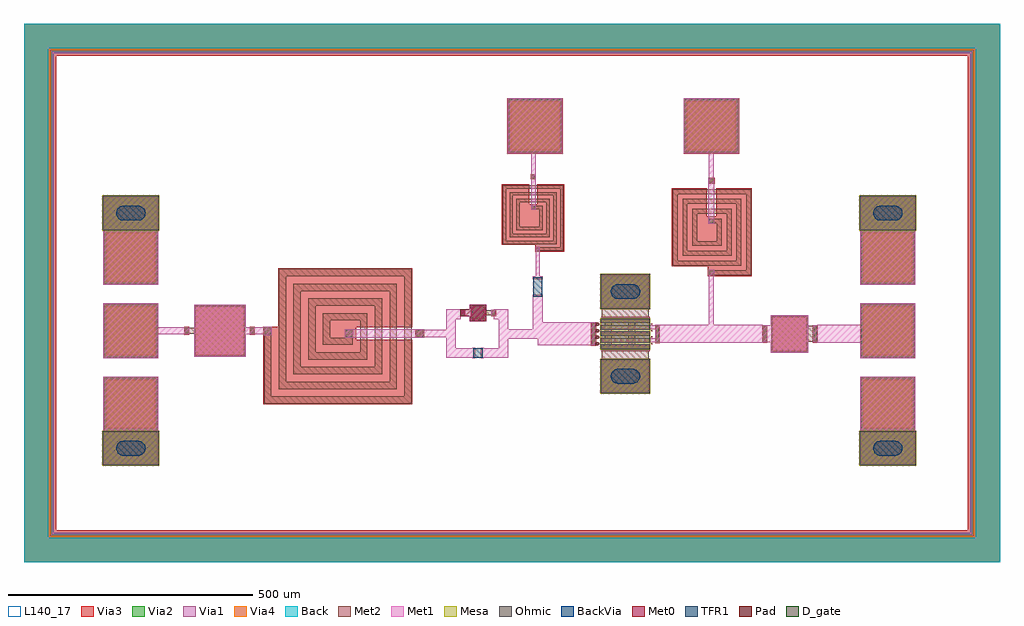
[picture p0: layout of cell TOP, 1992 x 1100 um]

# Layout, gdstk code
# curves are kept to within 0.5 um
from math import pi, radians
import gdstk
lib = gdstk.Library(unit=1e-6, precision=5e-08)
def R(c, l, rs):  # rectangles x0, y0, x1, y1
    for r in rs: c.add(gdstk.rectangle(r[:2], r[2:], *l))
def A(c, l, x, y, w, h, nx, ny, dx, dy):  # array of equal rectangles
    R(c, l, [(x+i*dx, y+j*dy, x+i*dx+w, y+j*dy+h) for i in range(nx) for j in range(ny)])
def P(c, l, *ps):  # polygons
    for p in ps: c.add(gdstk.Polygon(p, *l))
Ohmic = (20, 1)
Mesa = (40, 2)
Pad = (50, 3)
D_gate = (51, 4)
Via1 = (70, 6)
Via2 = (71, 11)
Via3 = (72, 12)
Via4 = (73, 14)
TFR1 = (80, 7)
Met0 = (90, 5)
Met1 = (91, 10)
Met2 = (92, 13)
BackVia = (120, 15)
Back = (130, 16)
L140_17 = (140, 17)

tfr1 = lib.new_cell('TFR1')
R(tfr1, TFR1, [(2,1,22,21)])
R(tfr1, Met1, [(0,0,6,22), (18,0,24,22)])

tfr1_3 = lib.new_cell('TFR1$3')
R(tfr1_3, TFR1, [(2,1,42,19)])
R(tfr1_3, Met1, [(0,0,6,20), (38,0,44,20)])

c_vt = lib.new_cell('VT')
A(c_vt, Ohmic, 20.5, 3.6, 100, 10, 1, 5, 0, 13.2)
R(c_vt, Mesa, [(19.5,2.6,121.5,67.4)])
P(c_vt, Pad, [(9.5,12.2),(9.5,18.2),(15.5,18.2),(17.5,16.2),(17.5,14.2),(15.5,12.2)],
  [(9.5,25.4),(9.5,31.4),(15.5,31.4),(17.5,29.4),(17.5,27.4),(15.5,25.4)],
  [(9.5,38.6),(9.5,44.6),(15.5,44.6),(17.5,42.6),(17.5,40.6),(15.5,38.6)],
  [(9.5,51.8),(9.5,57.8),(15.5,57.8),(17.5,55.8),(17.5,53.8),(15.5,51.8)],
  [(124,13.75),(123,14.75),(123,15.75),(125.5,15.75),(125.5,13.85)],
  [(123,27.85),(123,28.85),(124,29.85),(125.5,29.85),(125.5,27.85)],
  [(124,40.15),(123,41.15),(123,42.15),(125.5,42.15),(125.5,40.15)],
  [(123,54.25),(123,55.25),(124,56.25),(125.5,56.25),(125.5,54.25)])
A(c_vt, D_gate, 15.5, 15.1, 109.5, 0.2, 1, 4, 0, 13.2)
A(c_vt, Via1, 22, 5.1, 97, 7, 1, 5, 0, 13.2)
A(c_vt, Via1, 10.5, 13.2, 4, 4, 1, 4, 0, 13.2)
R(c_vt, Via2, [(23.5,2.5,117.5,10.6), (2.5,13.5,8,56.5), (133.5,18.5,138.5,51.5), (23.5,33,117.5,37), (23.5,59.4,117.5,67.5)])
R(c_vt, Via3, [(21,0,120,13.1), (0,11,10.5,59), (131,16,141,54), (21,30.5,120,39.5), (21,56.9,120,70)])
A(c_vt, Met1, 10, 12.7, 5, 5, 1, 4, 0, 13.2)
R(c_vt, Met1, [(21.5,0.5,119.5,12.6), (0.5,11.5,10,58.5), (131.5,16.5,140.5,53.5), (21.5,17.8,131.5,25.8), (21.5,31,119.5,39), (21.5,44.2,131.5,52.2), (21.5,57.4,119.5,69.5)])
R(c_vt, Met2, [(22.5,1.5,118.5,11.6), (28.5,11.6,42.5,32), (76.5,11.6,90.5,32), (1.5,12.5,9,57.5), (132.5,17.5,139.5,52.5), (22.5,32,118.5,38), (28.5,38,42.5,58.4), (76.5,38,90.5,58.4), (22.5,58.4,118.5,68.5)])

pad_1 = lib.new_cell('PAD$1')
R(pad_1, Via2, [(-54,-54,54,54)])
R(pad_1, Via3, [(-56.5,-56.5,56.5,56.5)])
R(pad_1, Via4, [(-50,-50,50,50)])
R(pad_1, Met1, [(-56,-56,56,56)])
R(pad_1, Met2, [(-55,-55,55,55)])

rost_em_rectangular_6 = lib.new_cell('Rost_EM_Rectangular$6')
R(rost_em_rectangular_6, Via2, [(102,-9.5,110,-1.5), (184,-9.5,192,-1.5), (184,-9.5,192,-1.5), (-4,-9,4,-1)])
R(rost_em_rectangular_6, Via3, [(181.5,-12,194.5,1), (181.5,-12,194.5,1)])
P(rost_em_rectangular_6, Via3, [(-6.5,-88),(-6.5,1.5),(13.5,1.5),(13.5,75),(172.5,75),(172.5,4.5),(115.5,4.5),(115.5,-15.5),(172.5,-15.5),(172.5,-88)])
R(rost_em_rectangular_6, Met1, [(100,-11.5,194,0.5), (100,-11.5,194,0.5), (-6,-11,6,1)])
R(rost_em_rectangular_6, Met2, [(183,-10.5,193,-0.5), (183,-10.5,193,-0.5)])
rost_em_rectangular_6.add(gdstk.FlexPath([(0,0),(0,-81.5),(166,-81.5),(166,68.5),(20,68.5),(20,-61.5),(146,-61.5),(146,48.5),(40,48.5),(40,-41.5),(126,-41.5),(126,28.5),(60,28.5),(60,-21.5),(106,-21.5),(106,-0.5)], 10, ends="flush", simple_path=True, layer=92, datatype=13))  # Met2

mimcap1_3 = lib.new_cell('MIMCAP1$3')
R(mimcap1_3, Via2, [(2,47.5,7,58.5), (135,47.5,140,58.5)])
R(mimcap1_3, Via3, [(20,3,120,103), (-0.5,45,9.5,61), (132.5,45,142.5,61)])
R(mimcap1_3, Met1, [(17,0,123,106), (0,45.5,17,60.5), (133,45.5,142,60.5), (0,50.5,2,55.5), (140,50.5,142,55.5)])
R(mimcap1_3, Met2, [(18,1,122,105), (1,46.5,8,59.5), (122,46.5,141,59.5)])

border = lib.new_cell('Border')
R(border, L140_17, [(0,0,1992,1100)])
border.add(gdstk.FlexPath([(29,0),(29,1071),(1963,1071),(1963,29),(58,29)], 58, ends="flush", simple_path=True, layer=71, datatype=11))  # Via2
border.add(gdstk.FlexPath([(33,0),(33,1067),(1959,1067),(1959,33),(66,33)], 66, ends="flush", simple_path=True, layer=72, datatype=12))  # Via3
border.add(gdstk.FlexPath([(27.5,0),(27.5,1072.5),(1964.5,1072.5),(1964.5,27.5),(55,27.5)], 55, ends="flush", simple_path=True, layer=73, datatype=14))  # Via4
border.add(gdstk.FlexPath([(30.5,0),(30.5,1069.5),(1961.5,1069.5),(1961.5,30.5),(61,30.5)], 61, ends="flush", simple_path=True, layer=70, datatype=6))  # Via1
border.add(gdstk.FlexPath([(25,0),(25,1075),(1967,1075),(1967,25),(50,25)], 50, ends="flush", simple_path=True, layer=130, datatype=16))  # Back

backvia = lib.new_cell('BACKVIA')
R(backvia, Ohmic, [(-50,-35,50,35)])
R(backvia, Mesa, [(-51,-36,51,36)])
R(backvia, Via1, [(-48.5,-33.5,48.5,33.5)])
R(backvia, Via2, [(-47,-32,47,32)])
R(backvia, Via3, [(-49.5,-34.5,49.5,34.5)])
R(backvia, Met1, [(-49,-34,49,34)])
R(backvia, Met2, [(-48,-33,48,33)])
P(backvia, BackVia, [(-16.5,-15),(-22.1,-13.3),(-24.55,-11.65),(-28.3,-7.1),(-30,-1.5),(-30,1.5),(-28.3,7.1),(-26.65,9.55),(-22.1,13.3),(-16.5,15),(16.5,15),(22.1,13.3),(24.55,11.65),(28.3,7.1),(30,1.5),(29.4,-4.4),(26.65,-9.55),(22.1,-13.3),(16.5,-15)])

mimcap2 = lib.new_cell('MIMCAP2')
R(mimcap2, Via1, [(1.5,11.5,9.5,22.5)])
R(mimcap2, Via2, [(24.5,5.5,47.5,28.5), (3,13,8,21), (65.5,13,70.5,21)])
R(mimcap2, Via3, [(23.5,4.5,48.5,29.5), (0.5,10.5,10.5,23.5), (63,10.5,73,23.5)])
R(mimcap2, Met0, [(19,0,53,34), (0,10,19,24)])
R(mimcap2, Met1, [(21,2,51,32), (1,11,10,23), (63.5,11,72.5,23), (1,16,3,18), (70.5,16,72.5,18)])
R(mimcap2, Met2, [(22.5,3.5,49.5,30.5), (2,12,9,22), (49.5,12,71.5,22)])

mimcap1_1 = lib.new_cell('MIMCAP1$1')
R(mimcap1_1, Via2, [(2,22.5,7,53.5), (105,22.5,110,53.5)])
R(mimcap1_1, Via3, [(20,3,90,73), (-0.5,20,9.5,56), (102.5,20,112.5,56)])
R(mimcap1_1, Met1, [(17,0,93,76), (0,20.5,17,55.5), (103,20.5,112,55.5), (0,25.5,2,50.5), (110,25.5,112,50.5)])
R(mimcap1_1, Met2, [(18,1,92,75), (1,21.5,8,54.5), (92,21.5,111,54.5)])

rost_em_rectangular_4 = lib.new_cell('Rost_EM_Rectangular$4')
R(rost_em_rectangular_4, Via2, [(159.5,-19,172.5,-6), (304,-19,317,-6), (304,-19,317,-6), (-6.5,-14,6.5,-1)])
R(rost_em_rectangular_4, Via3, [(301.5,-21.5,319.5,-3.5), (301.5,-21.5,319.5,-3.5)])
P(rost_em_rectangular_4, Via3, [(-9,-157.5),(-9,1.5),(21,1.5),(21,120.5),(295,120.5),(295,0),(180.5,0),(180.5,-25),(295,-25),(295,-157.5)])
R(rost_em_rectangular_4, Met1, [(157.5,-21,319,-4), (157.5,-21,319,-4), (-8.5,-16,8.5,1)])
R(rost_em_rectangular_4, Met2, [(303,-20,318,-5), (303,-20,318,-5)])
rost_em_rectangular_4.add(gdstk.FlexPath([(0,0),(0,-148.5),(286,-148.5),(286,111.5),(30,111.5),(30,-118.5),(256,-118.5),(256,81.5),(60,81.5),(60,-88.5),(226,-88.5),(226,51.5),(90,51.5),(90,-58.5),(196,-58.5),(196,21.5),(120,21.5),(120,-28.5),(166,-28.5),(166,-5)], 15, ends="flush", simple_path=True, layer=92, datatype=13))  # Met2

rost_em_rectangular = lib.new_cell('Rost_EM_Rectangular')
R(rost_em_rectangular, Via2, [(-2.5,-6,2.5,-1), (82.5,3,87.5,8), (145,3,150,8), (145,3,150,8)])
R(rost_em_rectangular, Via3, [(142.5,0.5,152.5,10.5), (142.5,0.5,152.5,10.5)])
P(rost_em_rectangular, Via3, [(-5,-57.5),(-5,1.5),(9,1.5),(9,69.5),(132,69.5),(132,14),(91.5,14),(91.5,-3),(132,-3),(132,-57.5)])
R(rost_em_rectangular, Met1, [(-4.5,-8,4.5,1), (80.5,1,152,10), (80.5,1,152,10)])
R(rost_em_rectangular, Met2, [(144,2,151,9), (144,2,151,9)])
rost_em_rectangular.add(gdstk.FlexPath([(0,0),(0,-52.5),(127,-52.5),(127,64.5),(14,64.5),(14,-38.5),(113,-38.5),(113,50.5),(28,50.5),(28,-24.5),(99,-24.5),(99,36.5),(42,36.5),(42,-10.5),(85,-10.5),(85,9)], 7, ends="flush", simple_path=True, layer=92, datatype=13))  # Met2

top = lib.new_cell('TOP')
R(top, Ohmic, [(-572,-165,-458,-95), (973,-165,1087,-95), (-572,315,-458,385), (973,315,1087,385)])
R(top, Mesa, [(-573,-166,-457,-94), (972,-166,1088,-94), (-573,314,-457,386), (972,314,1088,386)])
R(top, Via1, [(-570.5,-163.5,-459.5,-96.5), (974.5,-163.5,1085.5,-96.5), (-570.5,316.5,-459.5,383.5), (974.5,316.5,1085.5,383.5)])
R(top, Via2, [(-569,-162,-461,14), (976,-162,1084,14), (-569,206,-461,382), (976,206,1084,382)])
R(top, Via3, [(-571.5,-164.5,-458.5,16.5), (973.5,-164.5,1086.5,16.5), (-571.5,203.5,-458.5,384.5), (973.5,203.5,1086.5,384.5)])
R(top, Via4, [(-565,-89.5,-465,10), (980,-89.5,1080,10), (-565,210,-465,309.5), (980,210,1080,309.5)])
R(top, Met1, [(-571,-164,-459,16), (974,-164,1086,16), (128.5,54.5,148.5,74.5), (148.5,54.5,181.5,74.5), (205.5,54.5,235.5,74.5), (235.5,54.5,255.5,74.5), (128.5,74.5,148.5,96.5), (235.5,74.5,255.5,93.5), (315.5,80,325.5,93.5), (325.5,80,424.5,127), (564.5,85,664.5,122), (664.5,85,674.5,122), (674.5,85,774.5,122), (886.5,85,974.5,122), (235.5,93.5,305.5,113.5), (305.5,93.5,325.5,127), (83.5,96.5,128.5,111.5), (128.5,96.5,148.5,111.5), (-459,102.5,-405,117.5), (-263,102.5,-243,117.5), (128.5,111.5,148.5,133.5), (235.5,113.5,255.5,133.5), (664.5,122,674.5,222), (305.5,127,325.5,177), (128.5,133.5,148.5,153.5), (148.5,133.5,158.5,153.5), (225.5,133.5,235.5,153.5), (235.5,133.5,255.5,153.5), (-571,204,-459,384), (974,204,1086,384), (311,221,320,272), (665,422,675,472), (302,428.5,311,472)])
R(top, Met2, [(-570,-163,-460,15), (975,-163,1085,15), (446.5,50,542.5,70), (446.5,137,542.5,157), (-570,205,-460,383), (975,205,1085,383)])
P(top, BackVia, [(1015,335),(1009.85,335.9),(1005.35,338.5),(1000.9,344.85),(1000,350),(1000.9,355.15),(1003.5,359.65),(1007.5,363),(1015,365),(1047.6,364.75),(1052.5,363),(1058,357.5),(1060,350),(1059.1,344.85),(1056.5,340.35),(1052.5,337),(1045,335)],
  [(1015,-145),(1009.85,-144.1),(1005.35,-141.5),(1000.9,-135.15),(1000,-130),(1000.9,-124.85),(1003.5,-120.35),(1007.5,-117),(1015,-115),(1047.6,-115.25),(1052.5,-117),(1058,-122.5),(1060,-130),(1059.1,-135.15),(1056.5,-139.65),(1052.5,-143),(1045,-145)],
  [(-530,335),(-535.15,335.9),(-539.65,338.5),(-544.1,344.85),(-545,350),(-544.1,355.15),(-541.5,359.65),(-537.5,363),(-530,365),(-497.4,364.75),(-492.5,363),(-487,357.5),(-485,350),(-485.9,344.85),(-488.5,340.35),(-492.5,337),(-500,335)],
  [(-530,-145),(-535.15,-144.1),(-539.65,-141.5),(-544.1,-135.15),(-545,-130),(-544.1,-124.85),(-541.5,-120.35),(-537.5,-117),(-530,-115),(-497.4,-115.25),(-492.5,-117),(-487,-122.5),(-485,-130),(-485.9,-135.15),(-488.5,-139.65),(-492.5,-143),(-500,-145)])
top.add(gdstk.Reference(tfr1, (181.5,53.5)))
top.add(gdstk.Reference(tfr1_3, (325.5,177), rotation=pi/2))
top.add(gdstk.Reference(c_vt, (424,68.5)))
top.add(gdstk.Reference(pad_1, (1030,110), rotation=pi))
top.add(gdstk.Reference(rost_em_rectangular_6, (664.5,228), rotation=pi/2))
top.add(gdstk.Reference(mimcap1_3, (-263,163), rotation=pi))
top.add(gdstk.Reference(border, (-733,-363)))
top.add(gdstk.Reference(pad_1, (-515,110), rotation=pi))
top.add(gdstk.Reference(backvia, (494.5,190)))
top.add(gdstk.Reference(pad_1, (310,528), rotation=pi))
top.add(gdstk.Reference(pad_1, (670,528), rotation=pi))
top.add(gdstk.Reference(mimcap2, (157.5,129.5)))
top.add(gdstk.Reference(mimcap1_1, (774.5,65.5)))
top.add(gdstk.Reference(rost_em_rectangular_4, (-235.5,117)))
top.add(gdstk.Reference(rost_em_rectangular, (312,276.5), rotation=pi/2))
top.add(gdstk.Reference(backvia, (494.5,17)))

lib.write_gds('TOP.gds')
